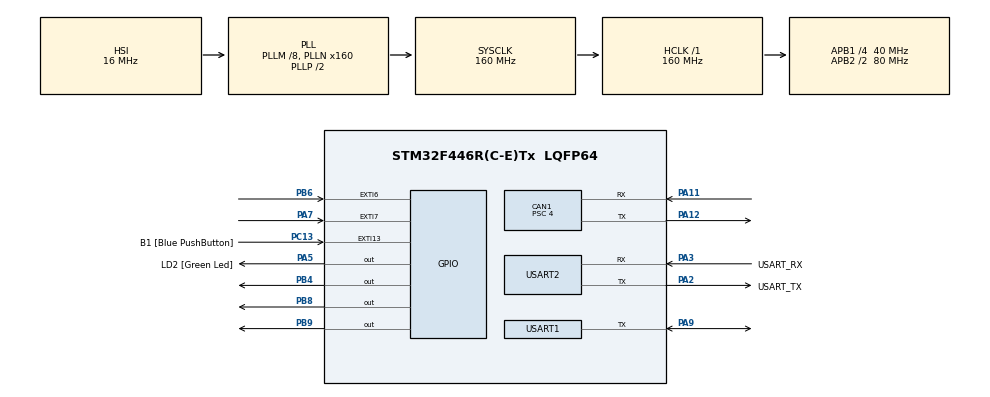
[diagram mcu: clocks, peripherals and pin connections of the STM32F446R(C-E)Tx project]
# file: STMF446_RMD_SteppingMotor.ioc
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CAN1.BS1=CAN_BS1_6TQ
CAN1.BS2=CAN_BS2_3TQ
CAN1.CalculateBaudRate=1000000
CAN1.CalculateTimeBit=1000
CAN1.CalculateTimeQuantum=100.0
CAN1.Prescaler=4
CAN1.SJW=CAN_SJW_1TQ
Mcu.Family=STM32F4
Mcu.Name=STM32F446R(C-E)Tx
Mcu.Package=LQFP64
NVIC.CAN1_RX0_IRQn=true\:0\:0\:true\:false\:true\:true\:true\:true
NVIC.CAN1_TX_IRQn=true\:0\:0\:true\:false\:true\:true\:true\:true
NVIC.EXTI15_10_IRQn=true\:1\:0\:true\:false\:true\:true\:true\:true
NVIC.EXTI9_5_IRQn=true\:1\:0\:true\:false\:true\:true\:true\:true
NVIC.PriorityGroup=NVIC_PRIORITYGROUP_4
NVIC.TIM3_IRQn=true\:2\:0\:true\:false\:true\:true\:true\:true
NVIC.USART2_IRQn=true\:0\:0\:true\:false\:true\:true\:true\:true
PA11.GPIO_Speed=GPIO_SPEED_FREQ_VERY_HIGH
PA11.Mode=CAN_Activate
PA11.Signal=CAN1_RX
PA12.GPIO_PuPd=GPIO_PULLUP
PA12.GPIO_Speed=GPIO_SPEED_FREQ_VERY_HIGH
PA12.Mode=CAN_Activate
PA12.Signal=CAN1_TX
PA13.GPIO_Label=TMS
PA13.Mode=Serial_Wire
PA13.Signal=SYS_JTMS-SWDIO
PA14.GPIO_Label=TCK
PA14.Mode=Serial_Wire
PA14.Signal=SYS_JTCK-SWCLK
PA2.GPIO_Label=USART_TX
PA2.Mode=Asynchronous
PA2.Signal=USART2_TX
PA3.GPIO_Label=USART_RX
PA3.Mode=Asynchronous
PA3.Signal=USART2_RX
PA5.GPIO_Label=LD2 [Green Led]
PA5.Signal=GPIO_Output
PA7.GPIO_ModeDefaultEXTI=GPIO_MODE_IT_RISING_FALLING
PA7.Signal=GPXTI7
PA9.GPIO_Speed=GPIO_SPEED_FREQ_HIGH
PA9.Mode=Half_duplex(single_wire_mode)
PA9.Signal=USART1_TX
PB3.GPIO_Label=SWO
PB3.Signal=SYS_JTDO-SWO
PB4.Signal=GPIO_Output
PB6.GPIO_ModeDefaultEXTI=GPIO_MODE_IT_RISING_FALLING
PB6.Signal=GPXTI6
PB8.GPIO_Speed=GPIO_SPEED_FREQ_VERY_HIGH
PB8.Signal=GPIO_Output
PB9.GPIO_Speed=GPIO_SPEED_FREQ_VERY_HIGH
PB9.Signal=GPIO_Output
PC13.GPIO_Label=B1 [Blue PushButton]
PC13.GPIO_ModeDefaultEXTI=GPIO_MODE_IT_FALLING
PC13.Signal=GPXTI13
PC14-OSC32_IN.Mode=LSE-External-Oscillator
PC14-OSC32_IN.Signal=RCC_OSC32_IN
PC15-OSC32_OUT.Mode=LSE-External-Oscillator
PC15-OSC32_OUT.Signal=RCC_OSC32_OUT
PH0-OSC_IN.Mode=HSE-External-Oscillator
PH0-OSC_IN.Signal=RCC_OSC_IN
PH1-OSC_OUT.Mode=HSE-External-Oscillator
PH1-OSC_OUT.Signal=RCC_OSC_OUT
ProjectManager.HeapSize=0x200
ProjectManager.StackSize=0x400
ProjectManager.TargetToolchain=STM32CubeIDE
RCC.48MHZClocksFreq_Value=84000000
RCC.AHBFreq_Value=160000000
RCC.APB1CLKDivider=RCC_HCLK_DIV4
RCC.APB1Freq_Value=40000000
RCC.APB1TimFreq_Value=80000000
RCC.APB2CLKDivider=RCC_HCLK_DIV2
RCC.APB2Freq_Value=80000000
RCC.APB2TimFreq_Value=160000000
RCC.CortexFreq_Value=160000000
RCC.FLatency-AdvancedSettings=FLASH_LATENCY_5
RCC.HCLKFreq_Value=160000000
RCC.HSE_VALUE=8000000
RCC.HSI_VALUE=16000000
RCC.PLLM=8
RCC.PLLN=160
RCC.SYSCLKFreq_VALUE=160000000
RCC.SYSCLKSource=RCC_SYSCLKSOURCE_PLLCLK
RCC.USBFreq_Value=160000000
RCC.VCOOutputFreq_Value=320000000
TIM3.Channel-Output\ Compare1\ No\ Output=TIM_CHANNEL_1
TIM3.Prescaler=160-1
USART1.BaudRate=500000
USART1.VirtualMode=VM_ASYNC
USART2.VirtualMode=VM_ASYNC
VP_TIM3_VS_ClockSourceINT.Mode=Internal
VP_TIM3_VS_no_output1.Mode=Output Compare1 No Output
board=NUCLEO-F446RE

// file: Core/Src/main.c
/* USER CODE BEGIN Header */
/**
  ******************************************************************************
  * @file           : main.c
  * @brief          : Main program body
  ******************************************************************************
  * @attention
  *
  * Copyright (c) 2022 STMicroelectronics.
  * All rights reserved.
  *
  * This software is licensed under terms that can be found in the LICENSE file
  * in the root directory of this software component.
  * If no LICENSE file comes with this software, it is provided AS-IS.
  *
  ******************************************************************************
  */
/* USER CODE END Header */
#include "main.h"

/* USER CODE BEGIN Includes */
#include<stdio.h>
#include "tmc/ic/TMC2209/TMC2209.h"
#include <math.h>
/* USER CODE END Includes */

/* USER CODE BEGIN PTD */
typedef struct {
	float acceleration;
	volatile unsigned int minStepInterval;
	void (*dirFunc)(int);
	void (*stepFunc)();

	uint8_t homing;
	unsigned int c0;
	volatile int stepPosition;

	volatile int dir; // 1 or -1
	volatile int dir_inv; //set 1 to reverse the dir

	volatile int pull_off; //set pull_off distance
	volatile int stall_off;

	volatile int seeking_vel;
	volatile int homing_vel;

	volatile unsigned int totalSteps;

	volatile char movementDone;
	volatile unsigned int rampUpStepCount;
	volatile unsigned int n; // index
	volatile float d; // current interval length
	volatile unsigned long di; // d -> unsigned  di
	volatile unsigned int stepCount;

}stepperInfo;   //stepperInfo型の構造体にメンバを格納

typedef struct{
	volatile unsigned int checkcount;
}checkerInfo;

/* USER CODE END PTD */

/* USER CODE BEGIN PD */
#define TMC2209_CRC(data, length) tmc_CRC8(data, length, 1)

/* USER CODE END PD */

 CAN_HandleTypeDef hcan1;

TIM_HandleTypeDef htim3;

UART_HandleTypeDef huart1;
UART_HandleTypeDef huart2;

/* USER CODE BEGIN PV */
//SteppingMotorの設定
TMC2209TypeDef TMC2209; //TMC2209の設定などの定義
ConfigurationTypeDef TMC2209_config; //TMC2209の設定
volatile stepperInfo steppers[1];    //stepperInfo型の配列stepperにNUM_STEPPERSで定義した値を代入
volatile checkerInfo currentget[1];
uint8_t end_stop_state = 0;
uint8_t homing_flag = 0;
uint8_t current_stall = 0;
//RMDの設定
CAN_FilterTypeDef sFilterConfig;
CAN_TxHeaderTypeDef TxHeader;
CAN_RxHeaderTypeDef RxHeader;
uint8_t TxData[8];
uint8_t RxData[8];
uint32_t TxMailbox;
uint8_t cmd_data = 0x00;
uint8_t UART1_Data[8];
uint8_t get_uart_flag = 0;
uint8_t end_flag = 0; //canを受信したかどうかのflag
uint8_t nextcan_flag = 0;
int Writecom=0x00;
int Readcom=0x00;
char RMD_cmd;
char KeyCommand[10];

/* USER CODE END PV */

void SystemClock_Config(void);
static void MX_GPIO_Init(void);
static void MX_USART2_UART_Init(void);
static void MX_CAN1_Init(void);
static void MX_TIM3_Init(void);
static void MX_USART1_UART_Init(void);
/* USER CODE BEGIN PFP */
static uint8_t reset(void);
static uint8_t restore(void);
/* USER CODE END PFP */

/* USER CODE BEGIN 0 */
void tmc2209_readWriteArray(uint8_t channel, uint8_t *data, size_t writeLength, size_t readLength)
{
	//set your uart read write
	//UART_readWrite(channelToUART(channel), data, writeLength, readLength);
	HAL_HalfDuplex_EnableTransmitter(&huart1);
	HAL_UART_Transmit(&huart1, data, writeLength,3000);

	if(readLength > 0){
		HAL_HalfDuplex_EnableReceiver(&huart1);
		HAL_UART_Receive(&huart1, data, readLength, 3000);
	}
}

uint8_t tmc2209_CRC8(uint8_t *data, size_t length)
{
	return TMC2209_CRC(data, length);
}
uint8_t uart_data;
char tx_data[]="get_data\r\n";
int flag = 1;

static uint8_t reset()
{
	//StepDir_init(STEPDIR_PRECISION);
	//StepDir_setPins(0, Pins.STEP, Pins.DIR, Pins.DIAG);

	return tmc2209_reset(&TMC2209);
}

static uint8_t restore()
{
	return tmc2209_restore(&TMC2209);
}

void TMC2209_INIT()
{
	tmc_fillCRC8Table(0x07, true, 1);

	TMC2209_config.reset = reset;
	TMC2209_config.restore = restore;
	tmc2209_init(&TMC2209, 0, 0, &TMC2209_config, &tmc2209_defaultRegisterResetState[0]);

	//restore();
}

static inline TMC2209TypeDef *motorToIC(uint8_t motor)
{
	UNUSED(motor);

	return &TMC2209;
}

void HAL_GPIO_EXTI_Callback(uint16_t GPIO_Pin)
{
	//stepper 0 end stop senssor
	if(GPIO_Pin == GPIO_PIN_6 ){
		if(!HAL_GPIO_ReadPin(GPIOB, GPIO_PIN_6)){
			end_stop_state |= 1;
		}
		if(HAL_GPIO_ReadPin(GPIOB, GPIO_PIN_6)){
			end_stop_state &= ~1;
		}
	}
//	if(GPIO_Pin == GPIO_PIN_7 ){
//		if(!HAL_GPIO_ReadPin(GPIOA, GPIO_PIN_7)){
//			current_stall|= 0;
//		}
//		if(HAL_GPIO_ReadPin(GPIOA, GPIO_PIN_7)){
//			current_stall = 1;
//		}
//	}
}
void Step0(){                                       //step pin
	//pull+
	printf("step_ON\r\n");

	HAL_GPIO_WritePin(GPIOB, GPIO_PIN_9, GPIO_PIN_RESET);
	HAL_GPIO_WritePin(GPIOB, GPIO_PIN_9, GPIO_PIN_SET);
	/*
	 * pull-
	 * HAL_GPIO_WritePin(GPIOB, GPIO_PIN_5, GPIO_PIN_SET);
	 * HAL_GPIO_WritePin(GPIOB, GPIO_PIN_5, GPIO_PIN_RESET);
	 */
}

void Dir0(int dir){
	HAL_GPIO_WritePin(GPIOB, GPIO_PIN_8, dir); //Dir0関数にdirピンを指定して格納
}

void resetStepperInfo(stepperInfo* si){    //resetStepperInfo関数に引数をstepperInfo構造隊にポイント型変数siとして与える
	si->n = 0;  //変数*siがメンバnにアクセス.した値に0を代入する
	si->d = 0;
	si->di = 0;
	si->stepCount = 0;
	si->rampUpStepCount = 0;
	si->totalSteps = 0;
	si->stepPosition = 0;
	si->movementDone = 0;
}

void resetStepper(volatile stepperInfo* si){    //resetStepper関数に引数をstepperInfo構造隊にポイント型変数siとして与える
	si->c0 = si->acceleration;      //変数*siがメンバc0にアクセス.した値に変数*siがメンバaccelerationにアクセス.した値を代入する
	si->d = si->c0;
	si->di = si->d;
	si->stepCount = 0;
	si->n = 0;
	si->rampUpStepCount = 0;
	si->movementDone = 0;
}

volatile uint8_t remainingSteppersFlag = 0; //remainingSteppersFlagをuint8_t型で定義し、初期化

void prepareMovement(int steps){
	if(steps == 0){
		return;
	}
	volatile stepperInfo* si = &steppers[0];
	if(si->dir_inv){
		si->dirFunc( steps < 0 ? 0 : 1);
		si->dir = steps > 0 ? -1:1;
	}else{
		si->dirFunc( steps < 0 ? 1 : 0);
		si->dir = steps > 0 ? 1:-1;
	}
		si->totalSteps = abs(steps);
		resetStepper(si);
		remainingSteppersFlag |= (1 << 0);

}

void prepareAbsoluteMovement(int absolute_steps){   //prepareAbsoluteMovementで与えられたステップ数だけモータを回す(main文から）
	printf("absolute_steps:%d\r\n",absolute_steps);
	volatile stepperInfo* si = &steppers[0];	//steppers[0]のアドレスをstepperInfo* si に代入
	int steps = absolute_steps - si->stepPosition;	//目標値からstepPositionを引いた値（stepposition=毎ステップカウントされるdirの値)
	printf("steps:%d\r\n",steps);
	if(steps == 0){
					return;
				}
	si->dirFunc( steps < 0 ? 1 : 0);
	si->dir = steps > 0 ? 1:-1;
	//printf("prepareAbsoluteMovement\r\n");
	si->totalSteps = abs(steps);	//stepsの値をアブソリュートでtotalstepsに格納
	printf("steps:%d\r\n",si->totalSteps);

	resetStepper(si);
	printf("steps:%d\r\n",steps);
	remainingSteppersFlag |= (1 << 0);
}
void currentcheck(){
	uint32_t value=0;
	volatile checkerInfo* t = &currentget[0];
		t->checkcount++;
		if(t->checkcount==2000){
			value=tmc2209_readInt(&TMC2209, TMC2209_SG_RESULT);
			printf("SG_RESULT  = %ld\r\n",value);

//			value=TMC2209_FIELD_READ(&TMC2209, TMC2209_TSTEP, TMC2209_TSTEP_MASK, TMC2209_TSTEP_SHIFT);
//			printf("tstep: %ld\r\n", value);

			tmc2209_periodicJob(&TMC2209, HAL_GetTick());
			t->checkcount=0;
		}
}
volatile uint8_t nextStepperFlag = 0;

void setNextInterruptInterval(){

	unsigned int mind = 999999;
//	currentcheck();
		if( ((1 << 0)& remainingSteppersFlag) && steppers[0].di < mind ){
			mind = steppers[0].di;
		}
		nextStepperFlag = 0;

			if( (1 << 0) && steppers[0].di == mind ){
				nextStepperFlag |= (1 << 0);
			}

		__HAL_TIM_SET_COMPARE(&htim3, TIM_CHANNEL_1, mind);		//mindにコンペアを設定
			//printf("mind:%d \r\n",mind);

	if (remainingSteppersFlag == 0){
		__HAL_TIM_SET_COMPARE(&htim3, TIM_CHANNEL_1, 65500);    //65500→コンペアマッチさせない
	}

	__HAL_TIM_SET_COMPARE(&htim3, TIM_CHANNEL_1, mind);
	return;

}

void HAL_TIM_OC_DelayElapsedCallback(TIM_HandleTypeDef *htim){      //指定したコンペアを超えた時発火
	//HAL_TIM_OC_Stop_IT(&htim3, TIM_CHANNEL_1);

	if(htim == &htim3){
	unsigned int tmpCtr = __HAL_TIM_GET_COMPARE(&htim3, TIM_CHANNEL_1);	//指定されたタイマーチャンネルのコンペアを所得
	__HAL_TIM_SET_COMPARE(&htim3, TIM_CHANNEL_1, 65500);			//コンペアを65500にセット

	if( homing_flag & (1 << 0)){
				if(end_stop_state & (1 << 0)){
					remainingSteppersFlag &= ~(1 << 0);
				}
			}
	if ( ! (nextStepperFlag & (1 << 0)) ){				//nextStepperFlagが真でない(0なら)
			steppers[0].di -= tmpCtr;           //tmpCtrの値からsteppers[i].di引いた値を新しくsteppers[i].diに代入
		}
		//printf("steppers:%ld \r\n",steppers[0].di);

		volatile stepperInfo* s = &steppers[0];

		if( (s->stepCount) < (s->totalSteps)&& !(current_stall)  ){		//1周ごとにカウントしたstepCountがabs(steps)より小さかったら==動作が終了するまで
			s->stepFunc();
			s->stepCount++;							//カウントし続ける
			s->stepPosition += s->dir;		//dir(+もしくはー(dirの向き）を加算してstepPositionに格納
			if ( (s->stepCount) >= (s->totalSteps) ){	//stepCountがtotalStepsを超えたとき
				s->movementDone = 1;	//movementDoneを1にする
				remainingSteppersFlag &= ~(1 << 0);
			}
		}

		if (s->rampUpStepCount == 0){
			s->n++;									//sにnを代入して、nをプラス1する
			s->d = s->d - (2*s->d) / (4*s->n +1);	//加減速遅延時間
			if (s->d <= s->minStepInterval ){		//加減速遅延時間がminStepIntervalより短いなら（定数で指定）
				s->d = s->minStepInterval;			//minStepIntervalを加減速遅延時間にする
				s->rampUpStepCount = s->stepCount;	//rampUpStepCountはstepCountとする
			}
			if (s->stepCount >= (s->totalSteps / 2) ){  //目標値から現在のステップを引いた値の1/2よりstepCountが大きくなったとき
				s->rampUpStepCount = s->stepCount;		//rampUpStepCountはstepCountとする
			}
		} else if ( s->stepCount >= s->totalSteps - s->rampUpStepCount) {	//目標値から現在のステップを引いた値からrampUpStepCountを引いた値がstepCountより小さいなら
			s->d = (s->d * (4 * s->n + 1)) / (4 * s->n + 1 -2);				//減速の時のステップ
			s->n--;		//sにnを代入し、nから1を引く
		}
		s->di = s->d;	//計算結果sをstepperInfoのメンバdに代入したものをメンバdiに代入
//		printf("stepPosition:%ld \r\n",s->stepPosition);
		setNextInterruptInterval();
		__HAL_TIM_SET_COUNTER(&htim3, 0);
	}
}

void sensorStateInit(){							//割り込みリセット
	if( ! HAL_GPIO_ReadPin(GPIOA, GPIO_PIN_6)){	//割り込みピンが真でない(1でない=0なら)
		end_stop_state |= 1;					//end_stop_stateに左辺か右辺が1なら1を代入
	}
}

void stallguard_back(){
	prepareMovement(steppers[0].stall_off);	//stall_off
	current_stall=0;
	return;
}

void runAndWait(){
	setNextInterruptInterval();
	while(remainingSteppersFlag && !(current_stall));
	if(current_stall==1){
		stallguard_back();
	}
	HAL_Delay(100);
	end_flag=1;
	//printf("posi%d\r\n",re->totalSteps);
}
void AbsoluteReset(){
	volatile stepperInfo* re = &steppers[0];

	re->n = 0;  //変数*siがメンバnにアクセス.した値に0を代入する
	re->d = 0;
	re->di = 0;
	re->stepCount = 0;
	re->rampUpStepCount = 0;
	re->totalSteps = 0;
	re->stepPosition = 0;
	printf("RestOK\r\n");
	end_flag=1;
}

void stepperHoming(){
	homing_flag |= (1 << 0);
	//seeking
	steppers[0].minStepInterval = steppers[0].seeking_vel;	//ホームピンに反応するまでモータ回す
	prepareMovement( -100000000);
	runAndWait();
	HAL_Delay(500);
	//pull-off

	homing_flag &= ~(1 << 0);								//homing_flagが反応したらpull_offだけモータ回す
	prepareMovement(steppers[0].pull_off);
	runAndWait();
	HAL_Delay(500);
	//homing

	homing_flag |= (1 << 0);								//ホームピンに反応するまでモータ回す
	steppers[0].minStepInterval = steppers[0].homing_vel;
	prepareMovement( -100000000);
	runAndWait();
	HAL_Delay(500);
	//pull-off
	homing_flag &= ~(1 << 0);
	prepareMovement(steppers[0].pull_off);
	runAndWait();
	HAL_Delay(500);

	steppers[0].stepPosition = 0;
	steppers[0].homing = 1;
	steppers[0].minStepInterval = 500;
	printf("homing:\r\n");

}
void MotorOFF(){
	int32_t value = 0;

	value = 0;
	TMC2209_FIELD_UPDATE(&TMC2209,TMC2209_IHOLD_IRUN, TMC2209_IHOLD_MASK, TMC2209_IHOLD_SHIFT, value);
	tmc2209_periodicJob(&TMC2209, HAL_GetTick());
	HAL_Delay(100);
	value=TMC2209_FIELD_READ(&TMC2209, TMC2209_IHOLD_IRUN, TMC2209_IHOLD_MASK, TMC2209_IHOLD_SHIFT);	//保持電流
	printf("IHOLD: %ld\r\n", value);

	value = 0;
	value = TMC2209_FIELD_READ(&TMC2209, TMC2209_PWMCONF, TMC2209_FREEWHEEL_MASK, 20);
	tmc2209_periodicJob(&TMC2209, HAL_GetTick());
	printf("Freewheeling: %ld\r\n", value);
	HAL_Delay(100);
	value = 1;
	TMC2209_FIELD_UPDATE(&TMC2209,TMC2209_PWMCONF, TMC2209_FREEWHEEL_MASK, 20, value);
	printf("Freewheeling: %ld\r\n", value);

	end_flag=1;

}

void InvertDir(){
	int32_t value = 0;

	value = 0;
	TMC2209_FIELD_UPDATE(&TMC2209,TMC2209_GCONF, TMC2209_SHAFT_SHIFT, TMC2209_SHAFT_MASK, value);
	tmc2209_periodicJob(&TMC2209, HAL_GetTick());
	HAL_Delay(100);
	value=TMC2209_FIELD_READ(&TMC2209, TMC2209_GCONF, TMC2209_SHAFT_SHIFT, TMC2209_SHAFT_MASK);	//保持電流
	printf("IHOLD: %ld\r\n", value);
}

void TMCsetup(){
	int32_t mstep_value = 0;
	int32_t toff_value = 0;
	int32_t microstep_value = 0;
	int32_t IRUN_value = 0;
	int32_t IHOLD_value = 0;
	int32_t IHOLDDELAY_value= 0;
	int32_t stallgard_setup_value=0;
	int32_t TCOOLTHRS_value=0;
	int32_t SEMAX_value=0;
	int32_t TBL_value = 0;
	int32_t stealthChop_value = 0;
	int32_t autoscale_value = 0;
	int32_t PWMAuto_value = 0;
	int32_t PWMAuto_scale = 0;
	int32_t value = 0;

	IRUN_value = 28;
	TMC2209_FIELD_UPDATE(&TMC2209, TMC2209_IHOLD_IRUN, TMC2209_IRUN_MASK, TMC2209_IRUN_SHIFT, IRUN_value);	//実行電流
	tmc2209_periodicJob(&TMC2209, HAL_GetTick());
	HAL_Delay(100);
	IRUN_value=TMC2209_FIELD_READ(&TMC2209, TMC2209_IHOLD_IRUN, TMC2209_IRUN_MASK, TMC2209_IRUN_SHIFT);
	printf("IRUN: %ld\r\n", IRUN_value);

	IHOLD_value= 16;																						//モーター待機時の電流の設定
	TMC2209_FIELD_UPDATE(&TMC2209,TMC2209_IHOLD_IRUN, TMC2209_IHOLD_MASK, TMC2209_IHOLD_SHIFT, IHOLD_value);
	tmc2209_periodicJob(&TMC2209, HAL_GetTick());
	HAL_Delay(100);
	IHOLD_value=TMC2209_FIELD_READ(&TMC2209, TMC2209_IHOLD_IRUN, TMC2209_IHOLD_MASK, TMC2209_IHOLD_SHIFT);	//保持電流
	printf("IHOLD: %ld\r\n", IHOLD_value);

	value=0;
	value = TMC2209_FIELD_READ(&TMC2209, TMC2209_GCONF, TMC2209_PDN_DISABLE_MASK,TMC2209_PDN_DISABLE_SHIFT);
	printf("pdn_disable : %ld\r\n", value);
	value = 1;
	TMC2209_FIELD_UPDATE(&TMC2209, TMC2209_GCONF, TMC2209_PDN_DISABLE_MASK, TMC2209_PDN_DISABLE_SHIFT, value);
	tmc2209_periodicJob(&TMC2209, HAL_GetTick());
	value=TMC2209_FIELD_READ(&TMC2209, TMC2209_GCONF, TMC2209_PDN_DISABLE_MASK, TMC2209_PDN_DISABLE_SHIFT);
	printf("pdn_disable : %ld\r\n", value);

	TCOOLTHRS_value=1000;
	tmc2209_writeInt(&TMC2209, TMC2209_TCOOLTHRS, TCOOLTHRS_value);
	tmc2209_periodicJob(&TMC2209, HAL_GetTick());
	printf("TCOOLTHRS: %ld\r\n", TCOOLTHRS_value);

	value=0;
	value = TMC2209_FIELD_READ(&TMC2209, TMC2209_GCONF, TMC2209_EN_SPREADCYCLE_MASK,TMC2209_EN_SPREADCYCLE_SHIFT);
	printf("SPREADCYCLE : %ld\r\n", value);
	value = 0;
	TMC2209_FIELD_UPDATE(&TMC2209, TMC2209_GCONF, TMC2209_EN_SPREADCYCLE_MASK, TMC2209_EN_SPREADCYCLE_SHIFT ,value);
	tmc2209_periodicJob(&TMC2209, HAL_GetTick());
	value=TMC2209_FIELD_READ(&TMC2209, TMC2209_GCONF, TMC2209_EN_SPREADCYCLE_MASK,TMC2209_EN_SPREADCYCLE_SHIFT);
	printf("SPREADCYCLE : %ld\r\n", value);

	value=10;
	tmc2209_writeInt(&TMC2209, TMC2209_TPWMTHRS, value);
	tmc2209_periodicJob(&TMC2209, HAL_GetTick());
	printf("TPWMTHRS: %ld\r\n", value);

	value=0;
	value = TMC2209_FIELD_READ(&TMC2209, TMC2209_GCONF, TMC2209_INTERNAL_RSENSE_MASK,TMC2209_INTERNAL_RSENSE_SHIFT);
	printf("RSENSE : %ld\r\n", value);
	value = 0;
	TMC2209_FIELD_UPDATE(&TMC2209, TMC2209_GCONF, TMC2209_INTERNAL_RSENSE_MASK, TMC2209_INTERNAL_RSENSE_SHIFT, value);
	tmc2209_periodicJob(&TMC2209, HAL_GetTick());
	value=TMC2209_FIELD_READ(&TMC2209, TMC2209_GCONF, TMC2209_INTERNAL_RSENSE_MASK, TMC2209_INTERNAL_RSENSE_SHIFT);
	printf("RSENSE : %ld\r\n", value);

	value=0;
	value = TMC2209_FIELD_READ(&TMC2209, TMC2209_PWMCONF, TMC2209_PWM_FREQ_MASK, TMC2209_PWM_FREQ_SHIFT);
	printf("PWM_FREQ : %ld\r\n", value);
	value=1;
	TMC2209_FIELD_UPDATE(&TMC2209, TMC2209_PWMCONF, TMC2209_PWM_FREQ_MASK, TMC2209_PWM_FREQ_SHIFT, value);
	value = TMC2209_FIELD_READ(&TMC2209, TMC2209_PWMCONF, TMC2209_PWM_FREQ_MASK, TMC2209_PWM_FREQ_SHIFT);
	printf("PWM_FREQ : %ld\r\n", value);

	value=0;
	value = TMC2209_FIELD_READ(&TMC2209,TMC2209_COOLCONF, TMC2209_SEIMIN_MASK, TMC2209_SEIMIN_SHIFT);
	printf("SEIMIN : %ld\r\n", value);

	value=0;
	value = TMC2209_FIELD_READ(&TMC2209, TMC2209_DRVSTATUS, TMC2209_CS_ACTUAL_MASK, TMC2209_CS_ACTUAL_SHIFT);
	printf("DRVSTATUS : %ld\r\n", value);

	mstep_value = TMC2209_FIELD_READ(&TMC2209, TMC2209_GCONF, TMC2209_MSTEP_REG_SELECT_MASK,TMC2209_MSTEP_REG_SELECT_SHIFT);	//uartでのmicrostepの有効化
	printf("mstep_before : %ld\r\n", mstep_value);
	mstep_value = 1;
	TMC2209_FIELD_UPDATE(&TMC2209, TMC2209_GCONF, TMC2209_MSTEP_REG_SELECT_MASK, TMC2209_MSTEP_REG_SELECT_SHIFT,mstep_value);
	tmc2209_periodicJob(&TMC2209, HAL_GetTick());
	mstep_value=TMC2209_FIELD_READ(&TMC2209, TMC2209_GCONF, TMC2209_MSTEP_REG_SELECT_MASK, TMC2209_MSTEP_REG_SELECT_SHIFT);
	printf("mstep_after : %ld\r\n", mstep_value);

	toff_value=TMC2209_FIELD_READ(&TMC2209, TMC2209_CHOPCONF, TMC2209_TOFF_MASK, TMC2209_TOFF_SHIFT);	//保持トルクの設定
	printf("toff_before : %ld\r\n", toff_value);
	toff_value = 3;
	TMC2209_FIELD_UPDATE(&TMC2209, TMC2209_CHOPCONF, TMC2209_TOFF_MASK, TMC2209_TOFF_SHIFT,toff_value);
	tmc2209_periodicJob(&TMC2209, HAL_GetTick());
	toff_value=TMC2209_FIELD_READ(&TMC2209, TMC2209_CHOPCONF, TMC2209_TOFF_MASK, TMC2209_TOFF_SHIFT);
	printf("toff_after : %ld\r\n", toff_value);

	microstep_value = 256 >> TMC2209_FIELD_READ(&TMC2209, TMC2209_CHOPCONF, TMC2209_MRES_MASK, TMC2209_MRES_SHIFT);	//microstepの設定
	printf("microstep_before : %ld\r\n", microstep_value);
	microstep_value = 4;
	TMC2209_FIELD_UPDATE(&TMC2209, TMC2209_CHOPCONF, TMC2209_MRES_MASK, TMC2209_MRES_SHIFT,microstep_value);
	tmc2209_periodicJob(&TMC2209, HAL_GetTick());
	microstep_value = 256 >> TMC2209_FIELD_READ(&TMC2209, TMC2209_CHOPCONF, TMC2209_MRES_MASK, TMC2209_MRES_SHIFT);
	printf("microstep_after : %ld\r\n", microstep_value);

	IHOLDDELAY_value=4;
	TMC2209_FIELD_UPDATE(&TMC2209, TMC2209_IHOLD_IRUN, TMC2209_IHOLDDELAY_MASK, TMC2209_IHOLDDELAY_SHIFT, IHOLDDELAY_value);
	tmc2209_periodicJob(&TMC2209, HAL_GetTick());
	IHOLDDELAY_value=TMC2209_FIELD_READ(&TMC2209, TMC2209_IHOLD_IRUN, TMC2209_IHOLDDELAY_MASK, TMC2209_IHOLDDELAY_SHIFT);
	printf("IHOLDDELAY: %ld\r\n", IHOLDDELAY_value);

	stallgard_setup_value=400;											//SG_RESULTと比較して、
	tmc2209_writeInt(&TMC2209, TMC2209_SGTHRS, stallgard_setup_value);
	tmc2209_periodicJob(&TMC2209, HAL_GetTick());
	stallgard_setup_value = tmc2209_readInt(&TMC2209, TMC2209_SGTHRS);
	printf("SGTHRS: %ld\r\n", stallgard_setup_value);

	stealthChop_value = 100;
	TMC2209_FIELD_UPDATE(&TMC2209, TMC2209_PWMCONF, TMC2209_PWM_GRAD_MASK, TMC2209_PWM_GRAD_SHIFT, stealthChop_value);
	stealthChop_value = TMC2209_FIELD_READ(&TMC2209, TMC2209_PWMCONF, TMC2209_PWM_GRAD_MASK, TMC2209_PWM_GRAD_SHIFT);
	tmc2209_periodicJob(&TMC2209, HAL_GetTick());
	printf("PWM_GRAD: %ld\r\n", stealthChop_value);

	value=5;
	TMC2209_FIELD_UPDATE(&TMC2209, TMC2209_COOLCONF, TMC2209_SEMIN_MASK, TMC2209_SEMIN_SHIFT, value);
	tmc2209_periodicJob(&TMC2209, HAL_GetTick());
	printf("SEMIN: %ld\r\n", value);

	SEMAX_value = 2;
	TMC2209_FIELD_UPDATE(&TMC2209, TMC2209_COOLCONF, TMC2209_SEMAX_MASK, TMC2209_SEMAX_SHIFT, SEMAX_value);
	tmc2209_periodicJob(&TMC2209, HAL_GetTick());
	printf("SEMAX: %ld\r\n", SEMAX_value);

	TBL_value = TMC2209_FIELD_READ(&TMC2209, TMC2209_CHOPCONF, TMC2209_TBL_MASK, TMC2209_TBL_SHIFT);
	tmc2209_periodicJob(&TMC2209, HAL_GetTick());
	TBL_value = 1;
	TMC2209_FIELD_UPDATE(&TMC2209, TMC2209_CHOPCONF, TMC2209_TBL_MASK, TMC2209_TBL_SHIFT, TBL_value);
	TBL_value = TMC2209_FIELD_READ(&TMC2209, TMC2209_CHOPCONF, TMC2209_TBL_MASK, TMC2209_TBL_SHIFT);
	printf("TBL: %ld\r\n", TBL_value);

	stealthChop_value = TMC2209_FIELD_READ(&TMC2209, TMC2209_PWMCONF, TMC2209_PWM_GRAD_MASK, TMC2209_PWM_GRAD_SHIFT);
	tmc2209_periodicJob(&TMC2209, HAL_GetTick());
	printf("PWM_GRAD: %ld\r\n", stealthChop_value);

	autoscale_value = TMC2209_FIELD_READ(&TMC2209, TMC2209_PWMCONF, TMC2209_PWM_AUTOSCALE_MASK, TMC2209_PWM_AUTOSCALE_SHIFT);
	tmc2209_periodicJob(&TMC2209, HAL_GetTick());
	printf("autoscale: %ld\r\n", autoscale_value);

	PWMAuto_value = tmc2209_readInt(&TMC2209,TMC2209_PWM_AUTO);
	tmc2209_periodicJob(&TMC2209, HAL_GetTick());
	printf("PWMAuto: %ld\r\n", PWMAuto_value);

	PWMAuto_scale = tmc2209_readInt(&TMC2209,TMC2209_PWMSCALE);
	tmc2209_periodicJob(&TMC2209, HAL_GetTick());
	printf("PWMSCALE: %ld\r\n", PWMAuto_scale);

	value = 0;
	value = TMC2209_FIELD_READ(&TMC2209, 0x07, TMC2209_FCLKTRIM_MASK, TMC2209_FCLKTRIM_SHIFT);

	tmc2209_periodicJob(&TMC2209, HAL_GetTick());
	printf("frequency: %ld\r\n", value);

	end_flag=1;

}

void RMDCommand(){
//	int i = 0;
	int count=0;
	TxHeader.StdId=0x141;
	TxHeader.IDE = CAN_ID_STD;
	TxHeader.DLC = 0x08;
	TxHeader.RTR = CAN_RTR_DATA;
	TxHeader.TransmitGlobalTime = DISABLE;
	TxData[1] = 0x00;
	TxData[2] = 0x00;
	TxData[3] = 0x00;
	TxData[4] = 0x00;
	TxData[5] = 0x00;
	TxData[6] = 0x00;
	TxData[7] = 0x00;
	switch(Writecom){
		case 0x31:
			TxData[0] = 0x31;	//PI設定
			TxData[2] = UART1_Data[2];	//anglePidKp
			TxData[3] = UART1_Data[3];	//anglePidKi
			TxData[4] = UART1_Data[4];	//speedPidKp
			TxData[5] = UART1_Data[5];	//speedPidKi
			TxData[6] = UART1_Data[6];	//iqPidKp
			TxData[7] = UART1_Data[7];	//iqPidKi
		case 0x32:
			TxData[0] = 0x32;	//PI設定
			TxData[2] = UART1_Data[2];	//anglePidKp
			TxData[3] = UART1_Data[3];	//anglePidKi
			TxData[4] = UART1_Data[4];	//speedPidKp
			TxData[5] = UART1_Data[5];	//speedPidKi
			TxData[6] = UART1_Data[6];	//iqPidKp
			TxData[7] = UART1_Data[7];	//iqPidKi
			break;
		case 0x34:
			TxData[0] = 0x34;	//accelePI設定
			TxData[4] = UART1_Data[4];	//speedI
			TxData[5] = UART1_Data[5];	//TorqueP
			TxData[6] = UART1_Data[6];	//TorqueI
			TxData[7] = UART1_Data[7];	//PosI
			break;
		case 0xA1:
			TxData[0] = 0xA1;	//Torque設定
			TxData[1] = 0x00;
			TxData[2] = 0x2C;	//speed low
			TxData[3] = 0x01;	//speed high
			TxData[4] = UART1_Data[4];	//currentlow
			TxData[5] = UART1_Data[5];	//currenthigh
			break;
		case 0xA4:
			TxData[0] = 0xA4;
			TxData[1] = 0x00;
			TxData[2] = 0x2C;	//speed low
			TxData[3] = 0x01;	//speed high
			TxData[4] = UART1_Data[4];	//poslow
			TxData[5] = UART1_Data[5];
			TxData[6] = 0x00;
			TxData[7] = 0x00;	//poshigh
			break;
		case 0x91:
			TxData[0] = 0x91;
			TxData[1] = 0x00;
			TxData[2] = 0x00;	//speed low
			TxData[3] = 0x00;	//speed high
			TxData[4] = 0x00;	//poslow
			TxData[5] = 0x00;
			TxData[6] = UART1_Data[6];
			TxData[7] = UART1_Data[7];	//poshigh
			printf("0x91\r\n");

			break;

		default:
			printf("No Data Writecom\r\n");
			end_flag=1;
			break;
		}
	Writecom=0x00;
	switch(Readcom){
		case 0x30:
			TxData[0] = 0x30;
			break;
		case 0x33:
			TxData[0] = 0x33;
			break;
		case 0x9C:
			TxData[0] = 0x9C;
			break;
		case 0xA1:
			TxData[0] = 0xA1;
		case 0x90:
			TxData[0] = 0x90;
			break;
		default:
			printf("No Data Readcom\r\n");
			end_flag=1;
			break;
	}
	Readcom=0x00;
	if(3== HAL_CAN_GetTxMailboxesFreeLevel(&hcan1) ){
		HAL_CAN_AddTxMessage(&hcan1,&TxHeader,TxData,&TxMailbox);
		HAL_Delay(10);
//		printf("Can Send\r\n");
		while(!nextcan_flag){
//			printf("Mailboxes: %d\r\n",HAL_CAN_GetTxMailboxesFreeLevel(&hcan1));
			HAL_CAN_AddTxMessage(&hcan1,&TxHeader,TxData,&TxMailbox);
			HAL_Delay(10);
			count++;
			if(count==10){
				nextcan_flag=1;
				HAL_CAN_Stop (&hcan1);
				//HAL_CAN_AbortTxRequest(&hcan1,TxMailbox);
				HAL_CAN_Start(&hcan1);
				printf("CAN RESET\r\n");
			}
		}
		nextcan_flag=0;
		count=0;
	}else{
		printf("Mailbox_congestion\r\n");
		nextcan_flag=0;
		end_flag=1;
	}
}
void RMDTx(){
	int count=0;
	TxHeader.StdId=0x141;
	TxHeader.IDE = CAN_ID_STD;
	TxHeader.DLC = 0x08;
	TxHeader.RTR = CAN_RTR_DATA;
	TxHeader.TransmitGlobalTime = DISABLE;
	TxData[1] = 0x00;

	if(0 < HAL_CAN_GetTxMailboxesFreeLevel(&hcan1) ){
			HAL_CAN_AddTxMessage(&hcan1,&TxHeader,TxData,&TxMailbox);
			HAL_Delay(10);
	//		printf("Can Send\r\n");
			while(!nextcan_flag){
		//			printf("Mailboxes: %d\r\n",HAL_CAN_GetTxMailboxesFreeLevel(&hcan1));
					if(0 < HAL_CAN_GetTxMailboxesFreeLevel(&hcan1) ){
					HAL_CAN_AddTxMessage(&hcan1,&TxHeader,TxData,&TxMailbox);
					HAL_Delay(10);
					if(count==10){
						nextcan_flag=1;
						HAL_CAN_Stop (&hcan1);
						HAL_CAN_Start(&hcan1);
						printf("CAN RESET\r\n");
						}else{
						printf("Mailbox_congestion\r\n");
								nextcan_flag=0;
								end_flag=1;
							}
					}
				}
			nextcan_flag=0;
			count=0;
	}
}
void SetUpRMD(){
	UART1_Data[4] = 0x00;
	UART1_Data[5] = 0x00;
	Writecom = 0xA4;
	RMDCommand();
}
void RMDLeftTurn(){
	UART1_Data[4] = 0x00;
	UART1_Data[5] = 0x00;
	Writecom=0xA4;
	RMDCommand();
}
void RMDRightTurn(){
	UART1_Data[4] = 0x50;
	UART1_Data[5] = 0x46;
	Writecom=0xA4;
	RMDCommand();
}

void checkRMDdata(){
	uint16_t RxBitshift[4];
	RxBitshift[0]=0;
	RxBitshift[1]=0;
	RxBitshift[2]=0;
	RxBitshift[3]=0;
	Readcom=0x30;
	RMDCommand();
	printf("0x30\r\n");
	printf("Position loop Kp :%d \r\n",RxData[2]);
	printf("Position loop Ki :%d \r\n",RxData[3]);
	printf("Speed loop Kp :%d \r\n",RxData[4]);
	printf("Speed loop Ki :%d \r\n",RxData[5]);
	printf("Torque loop Kp :%d \r\n",RxData[6]);
	printf("Torque loop Ki :%d \r\n",RxData[7]);

	Readcom=0x33;
	RMDCommand();
	printf("0x33\r\n");
	printf("Position loop P:%d \r\n",RxData[2]);
	printf("Position loop I :%d \r\n",RxData[3]);
	printf("Speed loop P :%d \r\n",RxData[4]);
	printf("Speed loop I :%d \r\n",RxData[5]);
	printf("Torque loop P :%d \r\n",RxData[6]);
	printf("Torque loop I :%d \r\n",RxData[7]);

	Readcom=0x9C;
	RMDCommand();
	printf("0x9C\r\n");
	RxBitshift[0]=RxData[2] & 0xFF;
	RxBitshift[0]+=(RxData[3] & 0xFF) << 8;
	RxBitshift[1]=RxData[4] & 0xFF;
	RxBitshift[1]+=(RxData[5] & 0xFF) << 8;
	RxBitshift[2]=RxData[6] & 0xFF;
	RxBitshift[2]+=(RxData[7] & 0xFF) << 8;
	printf("Motor temperature:%d \r\n",RxData[1]);
	printf("Torque current :%d \r\n",RxBitshift[0]);
	printf("Speed :%d \r\n",RxBitshift[1]);
	printf("Encoder position:%d \r\n",RxBitshift[2]);

	Readcom=0x90;
	RMDCommand();
	printf("0x90\r\n");
	RxBitshift[0]=RxData[2] & 0xFF;
	RxBitshift[0]+=(RxData[3] & 0xFF) << 8;
//	RxBitshift[0]=RxBitshift[0]-1;
	RxBitshift[0]=RxBitshift[0]<<2;
	RxBitshift[0]=(RxBitshift[0]>>2);
	RxBitshift[1]=RxData[4] & 0xFF;
	RxBitshift[1]+=(RxData[5] & 0xFF) << 8;
	RxBitshift[2]=RxData[6] & 0xFF;
	RxBitshift[2]+=(RxData[7] & 0xFF) << 8;
	printf("Encoder position:%d \r\n",RxBitshift[0]);
	printf("Encoder original position :%d \r\n",RxBitshift[1]);
	printf("Encoder offset :%d \r\n",RxBitshift[2]);

}
void motor_status(){
	uint16_t tx_data[8];
	tx_data[0]=RxData[2] & 0xFF;
	tx_data[0]+=(RxData[3] & 0xFF) << 8;
	tx_data[1]=RxData[4] & 0xFF;
	tx_data[1]+=(RxData[5] & 0xFF) << 8;
	tx_data[2]=RxData[6] & 0xFF;
	tx_data[2]+=(RxData[7] & 0xFF) << 8;
	printf("command_byte:%d \r\n",RxData[0]);
	printf("Motor temperature:%d \r\n",RxData[1]);
	printf("Torque current :%d \r\n",tx_data[0]);
	printf("Speed :%d \r\n",tx_data[1]);
	printf("Encoder position:%d \r\n",tx_data[2]);
}
void RMDPIDSetting(){
	UART1_Data[2] = 0xC8;	//anglePidKp
	UART1_Data[3] = 0x64;	//anglePidKi
	UART1_Data[4] = 0x64;	//speedPidKp
	UART1_Data[5] = 0x32;	//speedPidKi
	UART1_Data[6] = 0x32;	//iqPidKp
	UART1_Data[7] = 0x14;	//iqPidKi
	Writecom=0x32;
	RMDCommand();
}

void UART1_InIt(){
	UART1_Data[0] = 0x00;
	UART1_Data[1] = 0x00;
	UART1_Data[2] = 0x00;
	UART1_Data[3] = 0x00;
	UART1_Data[4] = 0x00;
	UART1_Data[5] = 0x00;
	UART1_Data[6] = 0x00;
	UART1_Data[7] = 0x00;
}

/* USER CODE END 0 */

int main(void)
{
  /* USER CODE BEGIN 1 */
	setbuf(stdout, NULL);
  /* USER CODE END 1 */

  /* MCU Configuration--------------------------------------------------------*/

  /* Reset of all peripherals, Initializes the Flash interface and the Systick. */
  HAL_Init();

  /* Configure the system clock */
  SystemClock_Config();

  /* Initialize all configured peripherals */
  MX_GPIO_Init();
  MX_USART2_UART_Init();
  MX_CAN1_Init();
  MX_TIM3_Init();
  MX_USART1_UART_Init();
  /* USER CODE BEGIN 2 */
//  TMC2209_INIT();
  //rxbufを受信したらフラグを
//  HAL_TIM_OC_Start_IT(&htim3, TIM_CHANNEL_1);
  printf("Hello\r\n");
  steppers[0].dirFunc = Dir0;
  steppers[0].stepFunc = Step0;
  steppers[0].acceleration = 1000;
  steppers[0].minStepInterval = 100;
  steppers[0].homing = 0;
  steppers[0].dir_inv = 1;
  steppers[0].seeking_vel = 100;
  steppers[0].homing_vel = 200;
  steppers[0].pull_off = 500;
  steppers[0].stall_off=10000;
  get_uart_flag=0;

sFilterConfig.FilterBank = 0;
sFilterConfig.FilterMode = CAN_FILTERMODE_IDMASK;
sFilterConfig.FilterScale = CAN_FILTERSCALE_32BIT;
sFilterConfig.FilterIdHigh = 0x0000;
sFilterConfig.FilterIdLow = 0x0000;
sFilterConfig.FilterMaskIdHigh = 0x0000;
sFilterConfig.FilterMaskIdLow = 0x0000;
sFilterConfig.FilterFIFOAssignment = CAN_RX_FIFO0;
//	sFilterConfig.FilterFIFOAssignment =CAN_FILTER_FIFO0;
sFilterConfig.FilterActivation=ENABLE;
sFilterConfig.SlaveStartFilterBank=14;

if(HAL_CAN_ConfigFilter(&hcan1,&sFilterConfig) != HAL_OK)
{
	Error_Handler();
}
if(HAL_CAN_Start(&hcan1)!=HAL_OK)
{
	Error_Handler();
}

if(HAL_CAN_ActivateNotification(&hcan1,CAN_IT_RX_FIFO0_MSG_PENDING | CAN_IT_TX_MAILBOX_EMPTY) != HAL_OK)
{
	Error_Handler();
}

char input_data[5];
uint8_t sent_RMD_deg[2];
uint16_t RMD_deg;
int RMD_offset;
uint16_t coordinate_receive;
int sent_step;
KeyCommand[0]=0;
printf("RMD Start\r\n");
HAL_UART_Receive_IT(&huart2, (uint8_t *)KeyCommand, 1);

  /* USER CODE END 2 */

  /* Infinite loop */
  /* USER CODE BEGIN WHILE */
  while (1)
  {
	  //受信割り込みの開始=6byte受け取ったら次の処理へ
		  get_uart_flag=0;
		  TxData[0] = 0x00;
		  TxData[1] = 0x00;
		  TxData[2] = 0x00;
		  TxData[3] = 0x00;
		  TxData[4] = 0x00;
		  TxData[5] = 0x00;
		  TxData[6] = 0x00;
		  TxData[7] = 0x00;
//		  int i=0;
	//	  printf("Key %d\r\n",KeyChange);
		  HAL_UART_Transmit(&huart2, (uint8_t *)KeyCommand, 1,300);
		  //受信するまで待つ
		  while(!get_uart_flag){}
		  UART1_InIt();
		  end_flag=0;
	  	   //canデータ受信用のフラグを0に
	//	  printf("beforecase\r\n");
			  if(KeyCommand[0]!=0 ){
				  switch(KeyCommand[0]){
				  case '0':
					  SetUpRMD();
					  motor_status();
					  KeyCommand[0]=0;
					  break;
				  case'1':
					  RMDLeftTurn();
					  motor_status();
					  KeyCommand[0]=0;
					  break;
				  case'2':
					  RMDRightTurn();
					  motor_status();
					  KeyCommand[0]=0;
					  break;
				  case'3':
					  checkRMDdata();
					  KeyCommand[0]=0;
					  break;
				  case'4':
					  Readcom=0x90;
					  RMDCommand();

					  KeyCommand[0]=0;
					  break;
				  case'5':
					  UART1_Data[6] =0x00;	//position_offset
					  UART1_Data[7] =0x00;
					  Writecom=0x91;
					  RMDCommand();
					  KeyCommand[0]=0;
					  break;
				  case'6':
					  RMD_offset=(int)round((90.0/360.0)*65535.0);
					  printf("RMD_offset :%d \r\n",RMD_offset);

					  UART1_Data[6] = RMD_offset&0xFF;	//position_offset
					  UART1_Data[7] = RMD_offset>>8;
					  Writecom=0x91;
					  RMDCommand();
					  KeyCommand[0]=0;
					  break;
				  case'7':

					  UART1_Data[6] = 0x00;
					  UART1_Data[7] = 0x80;
					  Writecom=0x91;
					  RMDCommand();
					  KeyCommand[0]=0;
					  break;
				  case'9':
					  RMDPIDSetting();
					  KeyCommand[0]=0;
					  break;
				  case'p':
					  printf("enter rotate deg");
					  get_uart_flag=0;
					  while(!get_uart_flag){}
					  RMD_deg=(KeyCommand[0]-48)*10000+(KeyCommand[1]-48)*1000+(KeyCommand[2]-48)*100+(KeyCommand[3]-48)*10+(KeyCommand[4]-48);
					  printf("RMD_deg,%d\r\n",RMD_deg);
					  for(int i=0;i<5;i++){
						  printf("KeyCommand,%d\r\n",KeyCommand[i]);
					  }
					  TxData[0] = 0xA4;
					  TxData[2] = 0x2C;	//speed low
					  TxData[3] = 0x01;	//speed high
					  TxData[4] =(RMD_deg&0xFF);	//poslow
					  TxData[5] =(RMD_deg>>8)&0xFF;
					  RMDTx();
					  RMD_deg=0;
					  KeyCommand[0]=0;
				  case'o':
					  printf("enter stepping deg");
					  get_uart_flag=0;
					  while(!get_uart_flag){}
					  coordinate_receive=(KeyCommand[0]-48)*100+(KeyCommand[1]-48)*10+(KeyCommand[2]-48);
					  printf("step_receive,%d\r\n",coordinate_receive);
					  for(int i=0;i<5;i++){
						  printf("KeyCommand,%d\r\n",KeyCommand[i]);
					  }
					  sent_step=(coordinate_receive/10)*3200;
					  prepareAbsoluteMovement(sent_step);
					  runAndWait();
					  RMD_deg=0;
					  KeyCommand[0]=0;
					  break;
				  case 's':
					  TMCsetup();
					  KeyCommand[0]=0;
					  break;
				  case 'a':
					  //HAL_UART_Transmit_IT(&huart2,(uint8_t *)front, sizeof(front));
					  printf("1:start\r\n");
					  prepareAbsoluteMovement(20000);
					  runAndWait();
					  HAL_Delay(100);
					  printf("1:end\r\n");
					  KeyCommand[0]=0;
					  break;

				  case 'd':
					  printf("1:start\r\n");
					  prepareAbsoluteMovement(-5000);
					  runAndWait();
					  HAL_Delay(100);
					  printf("1:end\r\n");
					  KeyCommand[0]=0;
					  break;

				  case 'h':
					  stepperHoming();
					  runAndWait();
					  HAL_Delay(100);
					  KeyCommand[0]=0;
					  break;

				  case 'q':
					  AbsoluteReset();
					  KeyCommand[0]=0;
					  break;

				  case 'k':
					  MotorOFF();
					  HAL_Delay(100);
					  KeyCommand[0]=0;
					  break;

				  default:
					  printf("NoCommand\r\n");
					  KeyCommand[0]=0;
					  end_flag=1;
					  break;
				  }
				  while(!end_flag){}
			  }

//			  HAL_CAN_AddTxMessage(&hcan1,&TxHeader,TxData,&TxMailbox);
//			  printf("Command : 0x%x\r\n",TxData[0]);
//			  for(i=0;i < 8;i++){
//				  printf("DATA[%d]",i);
//				  printf("0x%x\r\n",TxData[i]);
//			  }

//	  if(KeyCommand[2]=='2'){
//	  	  		  printf("2\r\n");
//	  	  	  }
//	  if(KeyCommand[3]=='3'){
//	  	  	  		  printf("3\r\n");
//	  	  	  	  }
//	  else{
//		  printf("Nocomand\r\n");
//	  }
//	  scanf("%s",&KeyCommand);
//	  printf("%s",KeyCommand);

//	  RMDCommand();

	 // printf("UARTdata:%s\r\n",KeyCommand[0]);

//	  if(end_flag)
//	  HAL_CAN_AddTxMessage(&hcan1,&TxHeader,TxData,&TxMailbox);
//	  HAL_Delay(100);
    /* USER CODE END WHILE */

  }
}

void SystemClock_Config(void)
{
  RCC_OscInitTypeDef RCC_OscInitStruct = {0};
  RCC_ClkInitTypeDef RCC_ClkInitStruct = {0};

  /** Configure the main internal regulator output voltage
  */
  __HAL_RCC_PWR_CLK_ENABLE();
  __HAL_PWR_VOLTAGESCALING_CONFIG(PWR_REGULATOR_VOLTAGE_SCALE1);

  /** Initializes the RCC Oscillators according to the specified parameters
  * in the RCC_OscInitTypeDef structure.
  */
  RCC_OscInitStruct.OscillatorType = RCC_OSCILLATORTYPE_HSI;
  RCC_OscInitStruct.HSIState = RCC_HSI_ON;
  RCC_OscInitStruct.HSICalibrationValue = RCC_HSICALIBRATION_DEFAULT;
  RCC_OscInitStruct.PLL.PLLState = RCC_PLL_ON;
  RCC_OscInitStruct.PLL.PLLSource = RCC_PLLSOURCE_HSI;
  RCC_OscInitStruct.PLL.PLLM = 8;
  RCC_OscInitStruct.PLL.PLLN = 160;
  RCC_OscInitStruct.PLL.PLLP = RCC_PLLP_DIV2;
  RCC_OscInitStruct.PLL.PLLQ = 2;
  RCC_OscInitStruct.PLL.PLLR = 2;
  if (HAL_RCC_OscConfig(&RCC_OscInitStruct) != HAL_OK)
  {
    Error_Handler();
  }

  /** Initializes the CPU, AHB and APB buses clocks
  */
  RCC_ClkInitStruct.ClockType = RCC_CLOCKTYPE_HCLK|RCC_CLOCKTYPE_SYSCLK
                              |RCC_CLOCKTYPE_PCLK1|RCC_CLOCKTYPE_PCLK2;
  RCC_ClkInitStruct.SYSCLKSource = RCC_SYSCLKSOURCE_PLLCLK;
  RCC_ClkInitStruct.AHBCLKDivider = RCC_SYSCLK_DIV1;
  RCC_ClkInitStruct.APB1CLKDivider = RCC_HCLK_DIV4;
  RCC_ClkInitStruct.APB2CLKDivider = RCC_HCLK_DIV2;

  if (HAL_RCC_ClockConfig(&RCC_ClkInitStruct, FLASH_LATENCY_5) != HAL_OK)
  {
    Error_Handler();
  }
}

static void MX_CAN1_Init(void)
{

  hcan1.Instance = CAN1;
  hcan1.Init.Prescaler = 4;
  hcan1.Init.Mode = CAN_MODE_NORMAL;
  hcan1.Init.SyncJumpWidth = CAN_SJW_1TQ;
  hcan1.Init.TimeSeg1 = CAN_BS1_6TQ;
  hcan1.Init.TimeSeg2 = CAN_BS2_3TQ;
  hcan1.Init.TimeTriggeredMode = DISABLE;
  hcan1.Init.AutoBusOff = DISABLE;
  hcan1.Init.AutoWakeUp = DISABLE;
  hcan1.Init.AutoRetransmission = DISABLE;
  hcan1.Init.ReceiveFifoLocked = DISABLE;
  hcan1.Init.TransmitFifoPriority = DISABLE;
  if (HAL_CAN_Init(&hcan1) != HAL_OK)
  {
    Error_Handler();
  }

}

static void MX_TIM3_Init(void)
{

  TIM_ClockConfigTypeDef sClockSourceConfig = {0};
  TIM_MasterConfigTypeDef sMasterConfig = {0};
  TIM_OC_InitTypeDef sConfigOC = {0};

  htim3.Instance = TIM3;
  htim3.Init.Prescaler = 160-1;
  htim3.Init.CounterMode = TIM_COUNTERMODE_UP;
  htim3.Init.Period = 65535;
  htim3.Init.ClockDivision = TIM_CLOCKDIVISION_DIV1;
  htim3.Init.AutoReloadPreload = TIM_AUTORELOAD_PRELOAD_DISABLE;
  if (HAL_TIM_Base_Init(&htim3) != HAL_OK)
  {
    Error_Handler();
  }
  sClockSourceConfig.ClockSource = TIM_CLOCKSOURCE_INTERNAL;
  if (HAL_TIM_ConfigClockSource(&htim3, &sClockSourceConfig) != HAL_OK)
  {
    Error_Handler();
  }
  if (HAL_TIM_OC_Init(&htim3) != HAL_OK)
  {
    Error_Handler();
  }
  sMasterConfig.MasterOutputTrigger = TIM_TRGO_RESET;
  sMasterConfig.MasterSlaveMode = TIM_MASTERSLAVEMODE_DISABLE;
  if (HAL_TIMEx_MasterConfigSynchronization(&htim3, &sMasterConfig) != HAL_OK)
  {
    Error_Handler();
  }
  sConfigOC.OCMode = TIM_OCMODE_TIMING;
  sConfigOC.Pulse = 0;
  sConfigOC.OCPolarity = TIM_OCPOLARITY_HIGH;
  sConfigOC.OCFastMode = TIM_OCFAST_DISABLE;
  if (HAL_TIM_OC_ConfigChannel(&htim3, &sConfigOC, TIM_CHANNEL_1) != HAL_OK)
  {
    Error_Handler();
  }

}

static void MX_USART1_UART_Init(void)
{

  huart1.Instance = USART1;
  huart1.Init.BaudRate = 500000;
  huart1.Init.WordLength = UART_WORDLENGTH_8B;
  huart1.Init.StopBits = UART_STOPBITS_1;
  huart1.Init.Parity = UART_PARITY_NONE;
  huart1.Init.Mode = UART_MODE_TX_RX;
  huart1.Init.HwFlowCtl = UART_HWCONTROL_NONE;
  huart1.Init.OverSampling = UART_OVERSAMPLING_16;
  if (HAL_HalfDuplex_Init(&huart1) != HAL_OK)
  {
    Error_Handler();
  }

}

static void MX_USART2_UART_Init(void)
{

  huart2.Instance = USART2;
  huart2.Init.BaudRate = 115200;
  huart2.Init.WordLength = UART_WORDLENGTH_8B;
  huart2.Init.StopBits = UART_STOPBITS_1;
  huart2.Init.Parity = UART_PARITY_NONE;
  huart2.Init.Mode = UART_MODE_TX_RX;
  huart2.Init.HwFlowCtl = UART_HWCONTROL_NONE;
  huart2.Init.OverSampling = UART_OVERSAMPLING_16;
  if (HAL_UART_Init(&huart2) != HAL_OK)
  {
    Error_Handler();
  }

}

static void MX_GPIO_Init(void)
{
  GPIO_InitTypeDef GPIO_InitStruct = {0};

  /* GPIO Ports Clock Enable */
  __HAL_RCC_GPIOC_CLK_ENABLE();
  __HAL_RCC_GPIOH_CLK_ENABLE();
  __HAL_RCC_GPIOA_CLK_ENABLE();
  __HAL_RCC_GPIOB_CLK_ENABLE();

  /*Configure GPIO pin Output Level */
  HAL_GPIO_WritePin(LD2_GPIO_Port, LD2_Pin, GPIO_PIN_RESET);

  /*Configure GPIO pin Output Level */
  HAL_GPIO_WritePin(GPIOB, GPIO_PIN_4|GPIO_PIN_8|GPIO_PIN_9, GPIO_PIN_RESET);

  /*Configure GPIO pin : B1_Pin */
  GPIO_InitStruct.Pin = B1_Pin;
  GPIO_InitStruct.Mode = GPIO_MODE_IT_FALLING;
  GPIO_InitStruct.Pull = GPIO_NOPULL;
  HAL_GPIO_Init(B1_GPIO_Port, &GPIO_InitStruct);

  /*Configure GPIO pin : LD2_Pin */
  GPIO_InitStruct.Pin = LD2_Pin;
  GPIO_InitStruct.Mode = GPIO_MODE_OUTPUT_PP;
  GPIO_InitStruct.Pull = GPIO_NOPULL;
  GPIO_InitStruct.Speed = GPIO_SPEED_FREQ_LOW;
  HAL_GPIO_Init(LD2_GPIO_Port, &GPIO_InitStruct);

  /*Configure GPIO pin : PA7 */
  GPIO_InitStruct.Pin = GPIO_PIN_7;
  GPIO_InitStruct.Mode = GPIO_MODE_IT_RISING_FALLING;
  GPIO_InitStruct.Pull = GPIO_NOPULL;
  HAL_GPIO_Init(GPIOA, &GPIO_InitStruct);

  /*Configure GPIO pin : PB4 */
  GPIO_InitStruct.Pin = GPIO_PIN_4;
  GPIO_InitStruct.Mode = GPIO_MODE_OUTPUT_PP;
  GPIO_InitStruct.Pull = GPIO_NOPULL;
  GPIO_InitStruct.Speed = GPIO_SPEED_FREQ_LOW;
  HAL_GPIO_Init(GPIOB, &GPIO_InitStruct);

  /*Configure GPIO pin : PB6 */
  GPIO_InitStruct.Pin = GPIO_PIN_6;
  GPIO_InitStruct.Mode = GPIO_MODE_IT_RISING_FALLING;
  GPIO_InitStruct.Pull = GPIO_NOPULL;
  HAL_GPIO_Init(GPIOB, &GPIO_InitStruct);

  /*Configure GPIO pins : PB8 PB9 */
  GPIO_InitStruct.Pin = GPIO_PIN_8|GPIO_PIN_9;
  GPIO_InitStruct.Mode = GPIO_MODE_OUTPUT_PP;
  GPIO_InitStruct.Pull = GPIO_NOPULL;
  GPIO_InitStruct.Speed = GPIO_SPEED_FREQ_VERY_HIGH;
  HAL_GPIO_Init(GPIOB, &GPIO_InitStruct);

  /* EXTI interrupt init*/
  HAL_NVIC_SetPriority(EXTI9_5_IRQn, 1, 0);
  HAL_NVIC_EnableIRQ(EXTI9_5_IRQn);

  HAL_NVIC_SetPriority(EXTI15_10_IRQn, 1, 0);
  HAL_NVIC_EnableIRQ(EXTI15_10_IRQn);

}

/* USER CODE BEGIN 4 */
int _write(int file, char *ptr, int len)	//printfに必要
{
  HAL_UART_Transmit(&huart2,(uint8_t *)ptr,len,10);
  return len;
}
void HAL_UART_RxCpltCallback(UART_HandleTypeDef *huart)
{
	get_uart_flag = 1;
	printf("uart_timer\n\r");
	if(KeyCommand[0]=='p'){
		HAL_UART_Receive_IT(&huart2, (uint8_t *)KeyCommand, 5);
	}
	else if(KeyCommand[0]=='o'){
		HAL_UART_Receive_IT(&huart2, (uint8_t *)KeyCommand, 3);
	}else{
		HAL_UART_Receive_IT(&huart2, (uint8_t *)KeyCommand, 1);
	}

}
void HAL_CAN_TxMailbox0CompleteCallback(CAN_HandleTypeDef *hcan)
{
//	  HAL_GPIO_WritePin(GPIOA,GPIO_PIN_5,1);
	  printf("TxCan\n\r");
	  nextcan_flag=1;

}

void HAL_CAN_RxFifo0MsgPendingCallback(CAN_HandleTypeDef *hcan_)
{
	printf("RxCan\n\r");
	HAL_CAN_GetRxMessage(&hcan1,CAN_RX_FIFO0, &RxHeader,RxData);
	HAL_UART_Transmit(&huart2,RxData,sizeof(RxData),100);//受け取ったデータを送信

	//printf("\r\n");
	end_flag=1;

//HAL_UART_Transmit(&huart2,&RxHeader,4);
//  HAL_UART_Transmit(&huart2,RxData,1,3000);
//  flag *= -1;
//  if(flag >0){
//	  HAL_GPIO_WritePin(GPIOA,GPIO_PIN_5,1);
//  }else{
//	  HAL_GPIO_WritePin(GPIOA,GPIO_PIN_5,0);
//  }
}

/* USER CODE END 4 */

void Error_Handler(void)
{
  __disable_irq();
  while (1)
  {
  }
}
